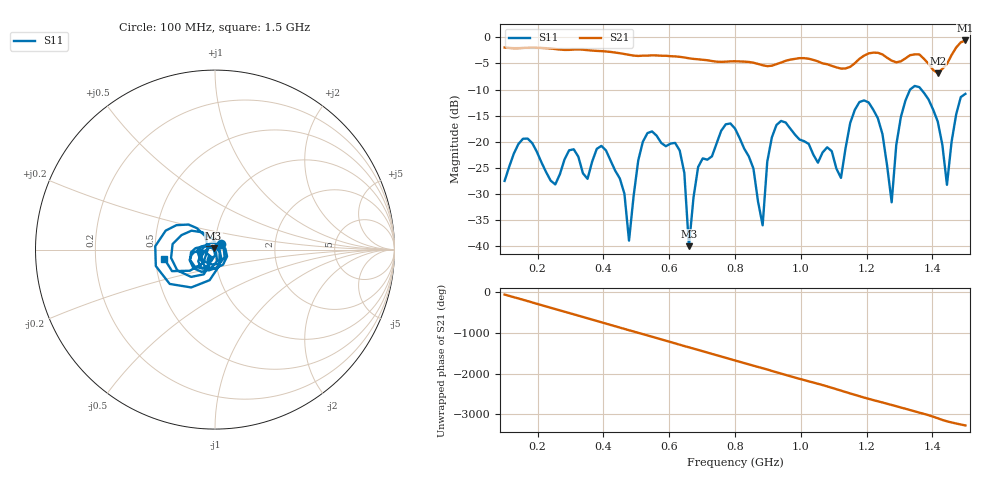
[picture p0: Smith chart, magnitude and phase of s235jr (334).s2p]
! NanoVNA-App
! Date: 2025-09-25 15:06:46
! Start: 100MHz Stop: 1,5GHz Points: 101
! S-Parameter data: F S11 S21 S12 S22
# Hz S RI R 50
!  Frequency  S11_Real  S11_Imag  S21_Real  S21_Imag  S12_Real  S12_Imag  S22_Real  S22_Imag
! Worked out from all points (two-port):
!   101 points, 100 MHz to 1.5 GHz, reference 50 ohm
!   highest |S21| = -0.62 dB at 1.5 GHz (marker M1); lowest = -6.9 dB at 1.416 GHz (marker M2)
!   |S21| within 3 dB of the highest: start of sweep to 602.5 MHz; 1.19 GHz to 1.255 GHz (65.52 MHz wide, 5.36 % of centre) (the widest 2 of 4)
!   lowest |S11| = -39.9 dB at 660 MHz (marker M3), VSWR 1.02, Z = 49.2 + j0.639 ohm
!   |S11| at or under -10 dB: start of sweep to 1.332 GHz; 1.366 GHz to end of sweep
!   S12 and S22 are empty: the file has one direction only
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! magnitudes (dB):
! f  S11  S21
! 100 MHz  -27.5  -2.0
! 156 MHz  -19.4  -2.0
! 338 MHz  -26.0  -2.4
! 408 MHz  -21.6  -2.7
! 478 MHz  -38.9  -3.4
! 520 MHz  -20.0  -3.5
! 576 MHz  -20.2  -3.5
! 632 MHz  -21.7  -3.7
! 660 MHz  -39.9  -4.0
! 688 MHz  -24.8  -4.2
! 800 MHz  -17.5  -4.6
! 884 MHz  -36.0  -5.4
! 926 MHz  -16.8  -5.1
! 1.038 GHz  -22.4  -4.3
! 1.122 GHz  -26.9  -6.0
! 1.164 GHz  -13.9  -5.0
! 1.206 GHz  -12.5  -3.1
! 1.276 GHz  -31.6  -4.5
! 1.332 GHz  -10.0  -3.4
! 1.416 GHz  -16.1  -6.9
! 1.444 GHz  -28.2  -5.1
! 1.5 GHz  -10.8  -0.6
